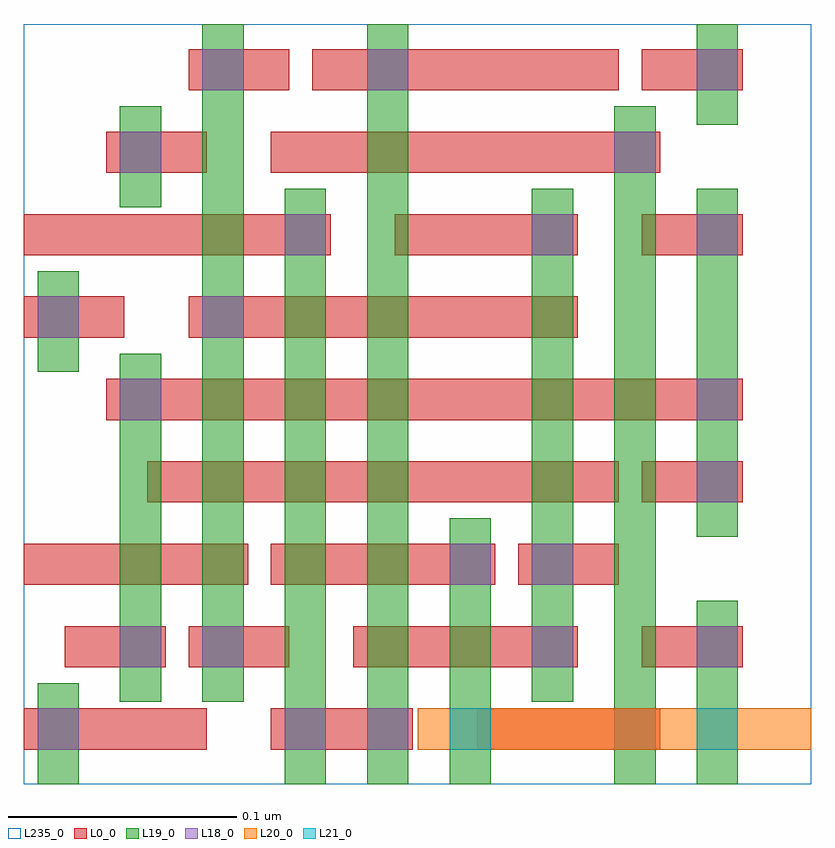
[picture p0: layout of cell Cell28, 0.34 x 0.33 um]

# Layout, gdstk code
import gdstk
lib = gdstk.Library(unit=1e-6, precision=2.5e-10)
def R(c, l, rs):  # rectangles x0, y0, x1, y1
    for r in rs: c.add(gdstk.rectangle(r[:2], r[2:], *l))
def A(c, l, x, y, w, h, nx, ny, dx, dy):  # array of equal rectangles
    R(c, l, [(x+i*dx, y+j*dy, x+i*dx+w, y+j*dy+h) for i in range(nx) for j in range(ny)])
L0_0 = (0, 0)
L18_0 = (18, 0)
L19_0 = (19, 0)
L20_0 = (20, 0)
L21_0 = (21, 0)
L235_0 = (235, 0)

cell28 = lib.new_cell('Cell28')
R(cell28, L0_0, [(0.004,-0.001,0.084,0.017), (0.112,-0.001,0.174,0.017), (0.202,-0.001,0.282,0.017), (0.022,0.035,0.066,0.053), (0.076,0.035,0.12,0.053), (0.148,0.035,0.246,0.053), (0.274,0.035,0.318,0.053), (0.004,0.071,0.102,0.089), (0.112,0.071,0.21,0.089), (0.22,0.071,0.264,0.089), (0.058,0.107,0.264,0.125), (0.274,0.107,0.318,0.125), (0.04,0.143,0.318,0.161), (0.004,0.179,0.048,0.197), (0.076,0.179,0.246,0.197), (0.004,0.215,0.138,0.233), (0.166,0.215,0.246,0.233), (0.274,0.215,0.318,0.233), (0.04,0.251,0.084,0.269), (0.112,0.251,0.282,0.269), (0.076,0.287,0.12,0.305), (0.13,0.287,0.264,0.305), (0.274,0.287,0.318,0.305)])
A(cell28, L18_0, 0.046, 0.035, 0.018, 0.018, 1, 3, 0, 0.108)
A(cell28, L18_0, 0.298, 0.143, 0.018, 0.018, 1, 3, 0, 0.072)
R(cell28, L18_0, [(0.01,-0.001,0.028,0.017), (0.118,-0.001,0.136,0.017), (0.154,-0.001,0.172,0.017), (0.262,-0.001,0.28,0.017), (0.082,0.035,0.1,0.053), (0.226,0.035,0.244,0.053), (0.298,0.035,0.316,0.053), (0.19,0.071,0.208,0.089), (0.226,0.071,0.244,0.089), (0.298,0.107,0.316,0.125), (0.01,0.179,0.028,0.197), (0.082,0.179,0.1,0.197), (0.118,0.215,0.136,0.233), (0.226,0.215,0.244,0.233), (0.262,0.251,0.28,0.269), (0.082,0.287,0.1,0.305), (0.154,0.287,0.172,0.305)])
R(cell28, L19_0, [(0.01,-0.016,0.028,0.028), (0.118,-0.016,0.136,0.244), (0.154,-0.016,0.172,0.316), (0.19,-0.016,0.208,0.1), (0.262,-0.016,0.28,0.28), (0.298,-0.016,0.316,0.064), (0.046,0.02,0.064,0.172), (0.082,0.02,0.1,0.316), (0.226,0.02,0.244,0.244), (0.298,0.092,0.316,0.244), (0.01,0.164,0.028,0.208), (0.046,0.236,0.064,0.28), (0.298,0.272,0.316,0.316)])
R(cell28, L20_0, [(0.176,-0.001,0.348,0.017)])
R(cell28, L21_0, [(0.19,-0.001,0.208,0.017), (0.298,-0.001,0.316,0.017)])
R(cell28, L235_0, [(0.004,-0.016,0.348,0.316)])

lib.write_gds('Cell28.gds')
